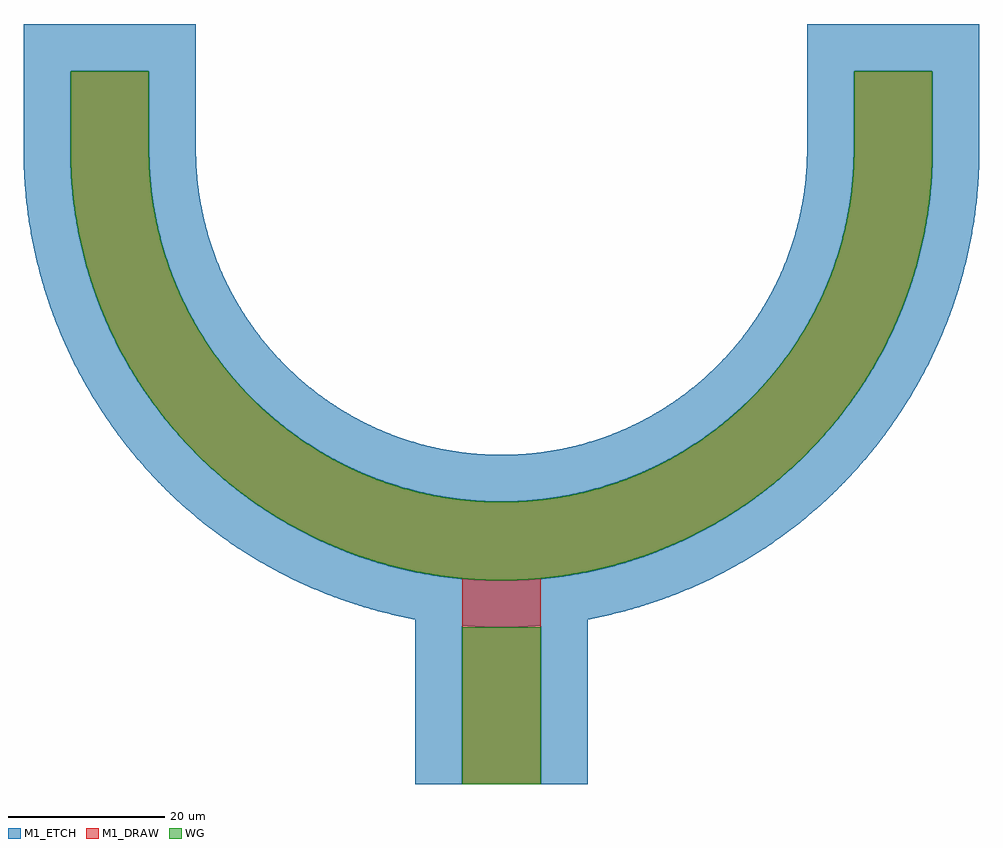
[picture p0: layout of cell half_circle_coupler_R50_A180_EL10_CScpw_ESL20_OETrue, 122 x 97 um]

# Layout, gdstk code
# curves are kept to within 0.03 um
from math import pi, radians
import gdstk
lib = gdstk.Library(unit=1e-6, precision=1e-09)
def R(c, l, rs):  # rectangles x0, y0, x1, y1
    for r in rs: c.add(gdstk.rectangle(r[:2], r[2:], *l))
def P(c, l, *ps):  # polygons
    for p in ps: c.add(gdstk.Polygon(p, *l))
M1_DRAW = (1, 0)
M1_ETCH = (1, 1)
WG = (102, 0)

bend_circular_a180_r50_n = lib.new_cell('bend_circular_A180_R50_NNone_CScpw_WNone_AMRVTrue')
P(bend_circular_a180_r50_n, M1_DRAW, [(0,-5),(0,5),(2.717,5.082),(5.199,5.301),(7.665,5.658),(10.108,6.15),(12.737,6.84),(15.107,7.611),(17.221,8.425),(19.496,9.442),(21.909,10.693),(24.051,11.966),(25.935,13.225),(27.93,14.717),(29.671,16.167),(31.498,17.861),(33.228,19.654),(34.857,21.54),(36.111,23.148),(37.29,24.811),(38.274,26.333),(39.196,27.894),(40.157,29.692),(40.942,31.325),(41.661,32.989),(42.389,34.893),(42.962,36.612),(43.525,38.572),(43.998,40.555),(44.342,42.335),(44.615,44.126),(44.835,46.153),(44.954,47.962),(45,50),(44.954,52.038),(44.835,53.847),(44.615,55.874),(44.342,57.665),(43.998,59.445),(43.525,61.428),(42.962,63.388),(42.389,65.107),(41.661,67.011),(40.942,68.675),(40.157,70.308),(39.196,72.106),(38.274,73.667),(37.29,75.189),(36.111,76.852),(34.857,78.46),(33.228,80.346),(31.498,82.139),(29.671,83.833),(27.93,85.283),(25.935,86.775),(24.051,88.034),(21.909,89.307),(19.496,90.558),(17.221,91.575),(15.107,92.389),(12.737,93.16),(10.108,93.85),(7.665,94.342),(5.199,94.699),(2.717,94.918),(0,95),(0,105),(2.491,104.944),(5.253,104.749),(8.002,104.415),(10.73,103.943),(13.162,103.402),(15.833,102.672),(18.464,101.808),(21.048,100.813),(23.328,99.808),(25.805,98.571),(28.216,97.211),(30.556,95.731),(32.819,94.135),(34.999,92.428),(37.089,90.613),(38.891,88.891),(40.613,87.089),(42.428,84.999),(44.135,82.819),(45.731,80.556),(47.211,78.216),(48.571,75.805),(49.808,73.328),(50.813,71.048),(51.808,68.464),(52.672,65.833),(53.402,63.162),(53.943,60.73),(54.415,58.002),(54.749,55.253),(54.944,52.491),(55,50),(54.944,47.509),(54.749,44.747),(54.415,41.998),(53.943,39.27),(53.402,36.838),(52.672,34.167),(51.808,31.536),(50.813,28.952),(49.808,26.672),(48.571,24.195),(47.211,21.784),(45.731,19.444),(44.135,17.181),(42.428,15.001),(40.613,12.911),(38.891,11.109),(37.089,9.387),(34.999,7.572),(32.819,5.865),(30.556,4.269),(28.216,2.789),(25.805,1.429),(23.328,0.192),(21.048,-0.813),(18.464,-1.808),(15.833,-2.672),(13.162,-3.402),(10.73,-3.943),(8.002,-4.415),(5.253,-4.749),(2.491,-4.944)])
P(bend_circular_a180_r50_n, M1_ETCH, [(0,-11),(0,-5),(3.044,-4.916),(5.804,-4.693),(8.549,-4.332),(11.543,-3.775),(14.502,-3.054),(17.154,-2.257),(20.02,-1.227),(22.573,-0.155),(25.068,1.045),(27.739,2.508),(30.326,4.116),(32.596,5.7),(34.999,7.572),(37.089,9.387),(39.086,11.305),(40.984,13.321),(42.778,15.43),(44.3,17.404),(45.731,19.444),(47.068,21.546),(48.309,23.708),(49.45,25.923),(50.49,28.187),(51.426,30.497),(52.257,32.846),(52.98,35.231),(53.595,37.646),(54.099,40.086),(54.493,42.547),(54.749,44.747),(54.944,47.509),(55,50),(54.944,52.491),(54.749,55.253),(54.493,57.453),(54.099,59.914),(53.595,62.354),(52.98,64.769),(52.257,67.154),(51.426,69.503),(50.49,71.813),(49.45,74.077),(48.309,76.292),(47.068,78.454),(45.731,80.556),(44.3,82.596),(42.778,84.57),(40.984,86.679),(39.086,88.695),(37.089,90.613),(34.999,92.428),(32.596,94.3),(30.326,95.884),(27.739,97.492),(25.068,98.955),(22.573,100.155),(20.02,101.227),(17.154,102.257),(14.502,103.054),(11.543,103.775),(8.549,104.332),(5.804,104.693),(3.044,104.916),(0,105),(0,111),(3.07,110.923),(6.132,110.691),(9.178,110.306),(11.901,109.828),(14.896,109.153),(17.854,108.329),(20.478,107.46),(23.344,106.357),(26.15,105.111),(28.891,103.725),(31.558,102.203),(33.89,100.72),(36.399,98.95),(38.817,97.056),(40.908,95.25),(43.134,93.134),(45.25,90.908),(47.056,88.817),(48.95,86.399),(50.72,83.89),(52.203,81.558),(53.725,78.891),(55.111,76.15),(56.357,73.344),(57.46,70.478),(58.329,67.854),(59.153,64.896),(59.828,61.901),(60.306,59.178),(60.691,56.132),(60.923,53.07),(61,50),(60.923,46.93),(60.691,43.868),(60.306,40.822),(59.828,38.099),(59.153,35.104),(58.329,32.146),(57.46,29.522),(56.357,26.656),(55.111,23.85),(53.725,21.109),(52.203,18.442),(50.72,16.11),(48.95,13.601),(47.056,11.183),(45.25,9.092),(43.134,6.866),(40.908,4.75),(38.817,2.944),(36.399,1.05),(33.89,-0.72),(31.558,-2.203),(28.891,-3.725),(26.15,-5.111),(23.344,-6.357),(20.478,-7.46),(17.854,-8.329),(14.896,-9.153),(11.901,-9.828),(9.178,-10.306),(6.132,-10.691),(3.07,-10.923)],
  [(0,5),(0,11),(1.963,11.049),(4.311,11.239),(6.45,11.537),(8.377,11.91),(10.473,12.432),(12.35,13.007),(14.379,13.747),(16.185,14.517),(17.95,15.376),(19.839,16.423),(21.504,17.464),(23.272,18.704),(24.968,20.04),(26.588,21.468),(28.127,22.984),(29.451,24.433),(30.579,25.794),(31.529,27.045),(32.536,28.496),(33.477,29.992),(34.349,31.529),(35.15,33.104),(35.879,34.713),(36.535,36.354),(37.055,37.836),(37.62,39.717),(38.047,41.431),(38.396,43.163),(38.64,44.715),(38.84,46.471),(38.96,48.233),(39,50),(38.96,51.767),(38.84,53.529),(38.64,55.285),(38.396,56.837),(38.047,58.569),(37.62,60.283),(37.055,62.164),(36.535,63.646),(35.879,65.287),(35.15,66.896),(34.349,68.471),(33.477,70.008),(32.536,71.504),(31.529,72.955),(30.579,74.206),(29.451,75.567),(28.127,77.016),(26.588,78.532),(24.968,79.96),(23.272,81.296),(21.504,82.536),(19.839,83.577),(17.95,84.624),(16.185,85.483),(14.379,86.253),(12.35,86.993),(10.473,87.568),(8.377,88.09),(6.45,88.463),(4.311,88.761),(1.963,88.951),(0,89),(0,95),(2.265,94.943),(4.523,94.772),(6.771,94.488),(9.001,94.091),(11.209,93.582),(13.171,93.029),(15.107,92.389),(17.221,91.575),(19.086,90.752),(21.113,89.74),(23.086,88.627),(25.001,87.416),(26.852,86.111),(28.46,84.857),(30.178,83.381),(31.82,81.82),(33.381,80.178),(34.857,78.46),(36.111,76.852),(37.416,75.001),(38.627,73.086),(39.74,71.113),(40.752,69.086),(41.575,67.221),(42.389,65.107),(43.029,63.171),(43.582,61.209),(44.091,59.001),(44.488,56.771),(44.772,54.523),(44.943,52.265),(45,50),(44.943,47.735),(44.772,45.477),(44.488,43.229),(44.091,40.999),(43.582,38.791),(43.029,36.829),(42.389,34.893),(41.575,32.779),(40.752,30.914),(39.74,28.887),(38.627,26.914),(37.416,24.999),(36.111,23.148),(34.857,21.54),(33.381,19.822),(31.82,18.18),(30.178,16.619),(28.46,15.143),(26.852,13.889),(25.001,12.584),(23.086,11.373),(21.113,10.26),(19.086,9.248),(17.221,8.425),(15.107,7.611),(13.171,6.971),(11.209,6.418),(9.001,5.909),(6.771,5.512),(4.523,5.228),(2.265,5.057)])
P(bend_circular_a180_r50_n, WG, [(0,-5),(0,5),(2.717,5.082),(5.199,5.301),(7.665,5.658),(10.108,6.15),(12.737,6.84),(15.107,7.611),(17.221,8.425),(19.496,9.442),(21.909,10.693),(24.051,11.966),(25.935,13.225),(27.93,14.717),(29.671,16.167),(31.498,17.861),(33.228,19.654),(34.857,21.54),(36.111,23.148),(37.29,24.811),(38.274,26.333),(39.196,27.894),(40.157,29.692),(40.942,31.325),(41.661,32.989),(42.389,34.893),(42.962,36.612),(43.525,38.572),(43.998,40.555),(44.342,42.335),(44.615,44.126),(44.835,46.153),(44.954,47.962),(45,50),(44.954,52.038),(44.835,53.847),(44.615,55.874),(44.342,57.665),(43.998,59.445),(43.525,61.428),(42.962,63.388),(42.389,65.107),(41.661,67.011),(40.942,68.675),(40.157,70.308),(39.196,72.106),(38.274,73.667),(37.29,75.189),(36.111,76.852),(34.857,78.46),(33.228,80.346),(31.498,82.139),(29.671,83.833),(27.93,85.283),(25.935,86.775),(24.051,88.034),(21.909,89.307),(19.496,90.558),(17.221,91.575),(15.107,92.389),(12.737,93.16),(10.108,93.85),(7.665,94.342),(5.199,94.699),(2.717,94.918),(0,95),(0,105),(2.491,104.944),(5.253,104.749),(8.002,104.415),(10.73,103.943),(13.162,103.402),(15.833,102.672),(18.464,101.808),(21.048,100.813),(23.328,99.808),(25.805,98.571),(28.216,97.211),(30.556,95.731),(32.819,94.135),(34.999,92.428),(37.089,90.613),(38.891,88.891),(40.613,87.089),(42.428,84.999),(44.135,82.819),(45.731,80.556),(47.211,78.216),(48.571,75.805),(49.808,73.328),(50.813,71.048),(51.808,68.464),(52.672,65.833),(53.402,63.162),(53.943,60.73),(54.415,58.002),(54.749,55.253),(54.944,52.491),(55,50),(54.944,47.509),(54.749,44.747),(54.415,41.998),(53.943,39.27),(53.402,36.838),(52.672,34.167),(51.808,31.536),(50.813,28.952),(49.808,26.672),(48.571,24.195),(47.211,21.784),(45.731,19.444),(44.135,17.181),(42.428,15.001),(40.613,12.911),(38.891,11.109),(37.089,9.387),(34.999,7.572),(32.819,5.865),(30.556,4.269),(28.216,2.789),(25.805,1.429),(23.328,0.192),(21.048,-0.813),(18.464,-1.808),(15.833,-2.672),(13.162,-3.402),(10.73,-3.943),(8.002,-4.415),(5.253,-4.749),(2.491,-4.944)])

straight_l10_cscpw_wnone = lib.new_cell('straight_L10_CScpw_WNone_N2')
R(straight_l10_cscpw_wnone, M1_DRAW, [(0,-5,10,5)])
R(straight_l10_cscpw_wnone, M1_ETCH, [(0,-11,10,-5), (0,5,10,11)])
R(straight_l10_cscpw_wnone, WG, [(0,-5,10,5)])

rectangle_s6_22_lm1_etch = lib.new_cell('rectangle_S6_22_LM1_ETCH_CTrue_PTelectrical_PO180_90_0_m90')
R(rectangle_s6_22_lm1_etch, M1_ETCH, [(-3,-11,3,11)])

straight_l20_cscpw_wnone = lib.new_cell('straight_L20_CScpw_WNone_N2')
R(straight_l20_cscpw_wnone, M1_DRAW, [(0,-5,20,5)])
R(straight_l20_cscpw_wnone, M1_ETCH, [(0,-11,20,-5), (0,5,20,11)])
R(straight_l20_cscpw_wnone, WG, [(0,-5,20,5)])

half_circle_coupler_r50_ = lib.new_cell('half_circle_coupler_R50_A180_EL10_CScpw_ESL20_OETrue')
R(half_circle_coupler_r50_, M1_DRAW, [(-5,-30.5,5,-19.5)])
R(half_circle_coupler_r50_, M1_ETCH, [(-11,-30.5,-5,-26.833), (5,-30.5,11,-26.833)])
half_circle_coupler_r50_.add(gdstk.Reference(bend_circular_a180_r50_n, (-50,30.5), rotation=3*pi/2))
half_circle_coupler_r50_.add(gdstk.Reference(straight_l10_cscpw_wnone, (-50,30.5), rotation=pi/2))
half_circle_coupler_r50_.add(gdstk.Reference(straight_l10_cscpw_wnone, (50,30.5), rotation=pi/2))
half_circle_coupler_r50_.add(gdstk.Reference(rectangle_s6_22_lm1_etch, (-50,43.5), rotation=pi/2))
half_circle_coupler_r50_.add(gdstk.Reference(rectangle_s6_22_lm1_etch, (50,43.5), rotation=pi/2))
half_circle_coupler_r50_.add(gdstk.Reference(straight_l20_cscpw_wnone, (0,-30.5), rotation=3*pi/2))

lib.write_gds('half_circle_coupler_R50_A180_EL10_CScpw_ESL20_OETrue.gds')
